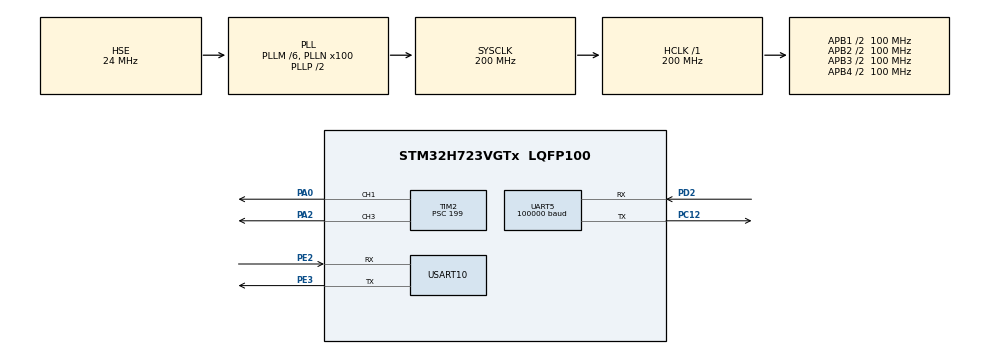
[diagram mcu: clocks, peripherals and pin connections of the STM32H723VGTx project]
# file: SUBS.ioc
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CORTEX_M7.default_mode_Activation=1
Dma.Request0=UART5_RX
Dma.UART5_RX.0.Direction=DMA_PERIPH_TO_MEMORY
Dma.UART5_RX.0.EventEnable=DISABLE
Dma.UART5_RX.0.FIFOMode=DMA_FIFOMODE_DISABLE
Dma.UART5_RX.0.Instance=DMA1_Stream0
Dma.UART5_RX.0.MemDataAlignment=DMA_MDATAALIGN_BYTE
Dma.UART5_RX.0.MemInc=DMA_MINC_ENABLE
Dma.UART5_RX.0.Mode=DMA_CIRCULAR
Dma.UART5_RX.0.PeriphDataAlignment=DMA_PDATAALIGN_BYTE
Dma.UART5_RX.0.PeriphInc=DMA_PINC_DISABLE
Dma.UART5_RX.0.Polarity=HAL_DMAMUX_REQ_GEN_RISING
Dma.UART5_RX.0.Priority=DMA_PRIORITY_HIGH
Dma.UART5_RX.0.RequestNumber=1
Dma.UART5_RX.0.SignalID=NONE
Dma.UART5_RX.0.SyncEnable=DISABLE
Dma.UART5_RX.0.SyncPolarity=HAL_DMAMUX_SYNC_NO_EVENT
Dma.UART5_RX.0.SyncRequestNumber=1
Dma.UART5_RX.0.SyncSignalID=NONE
Mcu.Family=STM32H7
Mcu.Name=STM32H723VGTx
Mcu.Package=LQFP100
NVIC.DMA1_Stream0_IRQn=true\:0\:0\:false\:false\:true\:false\:true\:true
NVIC.PriorityGroup=NVIC_PRIORITYGROUP_4
NVIC.UART5_IRQn=true\:0\:0\:false\:false\:true\:true\:true\:true
PA0.Mode=PWM Generation1 CH1
PA0.Signal=S_TIM2_CH1
PA2.Mode=PWM Generation3 CH3
PA2.Signal=S_TIM2_CH3
PA13(JTMS/SWDIO).Mode=Serial_Wire
PA13(JTMS/SWDIO).Signal=DEBUG_JTMS-SWDIO
PA14(JTCK/SWCLK).Mode=Serial_Wire
PA14(JTCK/SWCLK).Signal=DEBUG_JTCK-SWCLK
PC12.Mode=Asynchronous
PC12.Signal=UART5_TX
PD2.Mode=Asynchronous
PD2.Signal=UART5_RX
PE2.Mode=Asynchronous
PE2.Signal=USART10_RX
PE3.Mode=Asynchronous
PE3.Signal=USART10_TX
PH0-OSC_IN.Mode=HSE-External-Oscillator
PH0-OSC_IN.Signal=RCC_OSC_IN
PH1-OSC_OUT.Mode=HSE-External-Oscillator
PH1-OSC_OUT.Signal=RCC_OSC_OUT
ProjectManager.HeapSize=0x200
ProjectManager.StackSize=0x400
ProjectManager.TargetToolchain=MDK-ARM V5.32
RCC.ADCFreq_Value=48375000
RCC.APB1Freq_Value=100000000
RCC.APB2Freq_Value=100000000
RCC.APB3Freq_Value=100000000
RCC.APB4Freq_Value=100000000
RCC.CortexFreq_Value=200000000
RCC.D1PPRE=RCC_APB3_DIV2
RCC.D2PPRE1=RCC_APB1_DIV2
RCC.D2PPRE2=RCC_APB2_DIV2
RCC.D3PPRE=RCC_APB4_DIV2
RCC.DIVM1=6
RCC.DIVN1=100
RCC.HCLKFreq_Value=200000000
RCC.HSE_VALUE=24000000
RCC.PLLFRACN=0
RCC.PLLSourceVirtual=RCC_PLLSOURCE_HSE
RCC.SYSCLKFreq_VALUE=200000000
RCC.SYSCLKSource=RCC_SYSCLKSOURCE_PLLCLK
RCC.USBFreq_Value=200000000
TIM2.AutoReloadPreload=TIM_AUTORELOAD_PRELOAD_ENABLE
TIM2.Channel-PWM\ Generation1\ CH1=TIM_CHANNEL_1
TIM2.Channel-PWM\ Generation3\ CH3=TIM_CHANNEL_3
TIM2.Period=19999
TIM2.PeriodAutoCalc=false
TIM2.Prescaler=199
TIM2.Pulse-PWM\ Generation1\ CH1=1500
TIM2.Pulse-PWM\ Generation3\ CH3=1500
UART5.BaudRate=100000
UART5.Mode=MODE_RX
UART5.Parity=PARITY_EVEN
UART5.RxPinLevelInvertParam=UART_ADVFEATURE_RXINV_DISABLE
UART5.StopBits=UART_STOPBITS_2
UART5.WordLength=WORDLENGTH_9B
USART10.VirtualMode=VM_ASYNC
VP_MEMORYMAP_VS_MEMORYMAP.Mode=CurAppReg
VP_TIM2_VS_ClockSourceINT.Mode=Internal
board=custom

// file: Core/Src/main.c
/* USER CODE BEGIN Header */
/**
  ******************************************************************************
  * @file           : main.c
  * @brief          : 工程入口：初始化时钟/UART/DMA，启动 SBUS 接收并循环解析打印
  *
 * 达妙 DM-MC02 + Radiolink R9DS：
 *   UART5  PD2  接收 SBUS（100000，8E2，板载硬件反相，软件 RXINV 关）
 *   USART10 PE3 调试打印到电脑（115200，8N1）
 *   TIM2   PA0/PA2  50Hz 推进器 PWM，脉宽 1.0～2.0ms，对应 channels_norm[0]/[3]
  ******************************************************************************
  * @attention
  *
  * Copyright (c) 2026 STMicroelectronics.
  * All rights reserved.
  *
  * This software is licensed under terms that can be found in the LICENSE file
  * in the root directory of this software component.
  * If no LICENSE file comes with this software, it is provided AS-IS.
  *
  ******************************************************************************
  */
/* USER CODE END Header */
#include "main.h"

/* USER CODE BEGIN Includes */
#include "sbus.h"   /* SBUS 解析与调试打印 */
#include "pwm.h"    /* TIM2 两路 50Hz PWM 与时间戳同步 */
#include "ins_fusion.h" /* BMI088 + RTK 松耦合导航 */
#include "rtk_uart.h"   /* UART7 DMA 出错后重启 */
/* USER CODE END Includes */

TIM_HandleTypeDef htim2;         /* TIM2 句柄：PA0/PA2 两路 50Hz PWM */
UART_HandleTypeDef huart5;       /* UART5 句柄：SBUS 接收，引脚 PD2=RX */
UART_HandleTypeDef huart10;      /* USART10 句柄：调试打印，引脚 PE3=TX */
DMA_HandleTypeDef hdma_uart5_rx; /* UART5 接收 DMA（DMA1 Stream0，循环模式） */

/* USER CODE BEGIN PV */
/* DMA 循环接收缓冲。volatile 防止 -O3 把数组当常量；section RAM_D1 放到 AXI SRAM
 * （0x24000000），因为 H7 的 DMA1 无法写入 DTCM（0x20000000）。 */
#if defined(__CC_ARM)
volatile uint8_t sbus_dma_buf[SBUS_DMA_BUF_LEN] __attribute__((section("RAM_D1"), zero_init, aligned(32)));
#else
volatile uint8_t sbus_dma_buf[SBUS_DMA_BUF_LEN] __attribute__((section("RAM_D1"), aligned(32)));
#endif
/* USER CODE END PV */

void SystemClock_Config(void);          /* 配置 HSE 24MHz + PLL，SYSCLK=200MHz */
static void MPU_Config(void);           /* 配置 MPU，禁止对未实现地址的投机访问 */
static void MX_GPIO_Init(void);         /* 打开本工程用到的 GPIO 时钟 */
static void MX_DMA_Init(void);          /* 打开 DMA1 时钟并允许 DMA1 Stream0 中断 */
static void MX_USART10_UART_Init(void); /* 初始化调试串口 USART10 */
static void MX_UART5_Init(void);        /* 初始化 SBUS 串口 UART5 */
static void MX_TIM2_Init(void);         /* 初始化 TIM2 两路 PWM（50Hz） */
void HAL_TIM_MspPostInit(TIM_HandleTypeDef *htim); /* CubeMX：PWM 引脚复用 */
/* USER CODE BEGIN PFP */
static void SBUS_StartDmaRx(void);      /* 启动 UART5 DMA 收数并打开空闲中断 */
/* USER CODE END PFP */

/**
  * @brief  程序入口：MPU → HAL → 时钟 → 外设 → 启动 DMA 接收 → 死循环轮询解析
  * @retval int  正常情况不会返回
  */
int main(void)
{

  /* MPU Configuration--------------------------------------------------------*/
  MPU_Config();

  /* MCU Configuration--------------------------------------------------------*/

  /* Reset of all peripherals, Initializes the Flash interface and the Systick. */
  HAL_Init();

  /* Configure the system clock */
  SystemClock_Config();

  /* Initialize all configured peripherals */
  MX_GPIO_Init();
  MX_DMA_Init();
  MX_USART10_UART_Init();
  MX_UART5_Init();
  MX_TIM2_Init();
  /* USER CODE BEGIN 2 */
  PWM_Init();
  /* 启动时向电脑打印一行，确认 USART10（PE3）串口正常 */
  Debug_Printf("SBUS+PWM init OK\r\n");

  /* 板载 BMI088 + UART7 RTK NMEA → INSLIB ESKF，不改变原有 SBUS/PWM */
  INS_Fusion_Init();

  /* 启动 UART5 DMA 接收 + 空闲中断
   * 当 SBUS 一帧发送完毕、线路空闲时，触发 HAL_UARTEx_RxEventCallback */
  SBUS_StartDmaRx();
  /* USER CODE END 2 */

  /* Infinite loop */
  while (1)
  {

    /* USER CODE BEGIN 3 */
    static uint32_t last_print = 0; /* 上次串口打印的 HAL 时基，单位 ms */

    /* 主循环轮询 DMA。解帧只在这里做，不依赖空闲中断 */
    SBUS_PollFromUart(&huart5, sbus_dma_buf, SBUS_DMA_BUF_LEN);
    /* 新帧到达后立刻改 PWM，使 SBUS 接收时间戳与 PWM 输出时间戳对齐 */
    PWM_SyncFromSbus();
    /* IMU 100Hz + RTK NMEA 融合，与遥控互不影响 */
    INS_Fusion_Poll();

    /* 每 100ms（10Hz）打印一次，避免刷屏过快 */
    if ((HAL_GetTick() - last_print) >= 100U) {
      last_print = HAL_GetTick();

      /* 主循环解析成功后 sbus_data.updated 会被置 1 */
      if (sbus_data.updated) {
        sbus_data.updated = 0;
        /* channels_norm：中位 0.0，摇杆两端约 -1.0 / +1.0
         * [8]：拨杆，约 -0.966 不跟随摇杆，约 +0.985 手动
         * FL=丢帧标志，FS=失控保护（遥控器断电或超出距离时为 1）
         * [0]：右操纵杆左/右，[3]：左操纵杆左/右 */
        Debug_Printf(
            "N1:%+.2f N4:%+.2f N9:%+.2f MAN:%u PWM_us:%lu/%lu "
            "RX:%lu PWM_T:%lu dT:%ld FL:%u FS:%u\r\n",
            sbus_data.channels_norm[0],
            sbus_data.channels_norm[3],
            sbus_data.channels_norm[8],
            pwm_sync.manual,
            pwm_sync.pulse[0], pwm_sync.pulse[1],
            pwm_sync.sbus_rx_us, pwm_sync.pwm_out_us, pwm_sync.dt_us,
            sbus_data.frame_lost, sbus_data.failsafe);
      }
      /* UART10：融合结果；航向为 RTK 双天线真北，不打印融合 yaw */
      INS_Fusion_DebugPrint();
    }
  }
  /* USER CODE END 3 */
}

/**
  * @brief  系统时钟：板载 24MHz HSE，PLL M=6 N=100 P=2 → SYSCLK 200MHz，APB 各 100MHz
  * @note   HSE 必须填 24MHz，误填 25MHz 会导致 100000 波特率偏差，SBUS 解不开
  */
void SystemClock_Config(void)
{
  RCC_OscInitTypeDef RCC_OscInitStruct = {0}; /* 振荡器/PLL 参数 */
  RCC_ClkInitTypeDef RCC_ClkInitStruct = {0}; /* SYSCLK/AHB/APB 分频 */

  /** Supply configuration update enable
  */
  HAL_PWREx_ConfigSupply(PWR_LDO_SUPPLY);

  /** Configure the main internal regulator output voltage
  */
  __HAL_PWR_VOLTAGESCALING_CONFIG(PWR_REGULATOR_VOLTAGE_SCALE1);

  while(!__HAL_PWR_GET_FLAG(PWR_FLAG_VOSRDY)) {}

  /** Initializes the RCC Oscillators according to the specified parameters
  * in the RCC_OscInitTypeDef structure.
  */
  RCC_OscInitStruct.OscillatorType = RCC_OSCILLATORTYPE_HSE;
  RCC_OscInitStruct.HSEState = RCC_HSE_ON;
  RCC_OscInitStruct.PLL.PLLState = RCC_PLL_ON;
  RCC_OscInitStruct.PLL.PLLSource = RCC_PLLSOURCE_HSE;
  RCC_OscInitStruct.PLL.PLLM = 6;
  RCC_OscInitStruct.PLL.PLLN = 100;
  RCC_OscInitStruct.PLL.PLLP = 2;
  RCC_OscInitStruct.PLL.PLLQ = 2;
  RCC_OscInitStruct.PLL.PLLR = 2;
  RCC_OscInitStruct.PLL.PLLRGE = RCC_PLL1VCIRANGE_2;
  RCC_OscInitStruct.PLL.PLLVCOSEL = RCC_PLL1VCOWIDE;
  RCC_OscInitStruct.PLL.PLLFRACN = 0;
  if (HAL_RCC_OscConfig(&RCC_OscInitStruct) != HAL_OK)
  {
    Error_Handler();
  }

  /** Initializes the CPU, AHB and APB buses clocks
  */
  RCC_ClkInitStruct.ClockType = RCC_CLOCKTYPE_HCLK|RCC_CLOCKTYPE_SYSCLK
                              |RCC_CLOCKTYPE_PCLK1|RCC_CLOCKTYPE_PCLK2
                              |RCC_CLOCKTYPE_D3PCLK1|RCC_CLOCKTYPE_D1PCLK1;
  RCC_ClkInitStruct.SYSCLKSource = RCC_SYSCLKSOURCE_PLLCLK;
  RCC_ClkInitStruct.SYSCLKDivider = RCC_SYSCLK_DIV1;
  RCC_ClkInitStruct.AHBCLKDivider = RCC_HCLK_DIV1;
  RCC_ClkInitStruct.APB3CLKDivider = RCC_APB3_DIV2;
  RCC_ClkInitStruct.APB1CLKDivider = RCC_APB1_DIV2;
  RCC_ClkInitStruct.APB2CLKDivider = RCC_APB2_DIV2;
  RCC_ClkInitStruct.APB4CLKDivider = RCC_APB4_DIV2;

  if (HAL_RCC_ClockConfig(&RCC_ClkInitStruct, FLASH_LATENCY_2) != HAL_OK)
  {
    Error_Handler();
  }
}

/**
  * @brief  TIM2 两路 PWM：内部时钟，50Hz
  * @note   APB1 分频后定时器时钟为 200MHz；PSC=199 → 1MHz；ARR=19999 → 20ms
  *         PA0=CH1←SBUS[0]，PA2=CH3←SBUS[3]
  *         1 计数 = 1us；初始 Pulse=1500，推进器停转
  */
static void MX_TIM2_Init(void)
{

  TIM_MasterConfigTypeDef sMasterConfig = {0};
  TIM_OC_InitTypeDef sConfigOC = {0};

  htim2.Instance = TIM2;
  htim2.Init.Prescaler = PWM_TIM_PRESCALER;
  htim2.Init.CounterMode = TIM_COUNTERMODE_UP;
  htim2.Init.Period = PWM_TIM_PERIOD;
  htim2.Init.ClockDivision = TIM_CLOCKDIVISION_DIV1;
  htim2.Init.AutoReloadPreload = TIM_AUTORELOAD_PRELOAD_ENABLE;
  if (HAL_TIM_PWM_Init(&htim2) != HAL_OK)
  {
    Error_Handler();
  }
  sMasterConfig.MasterOutputTrigger = TIM_TRGO_RESET;
  sMasterConfig.MasterSlaveMode = TIM_MASTERSLAVEMODE_DISABLE;
  if (HAL_TIMEx_MasterConfigSynchronization(&htim2, &sMasterConfig) != HAL_OK)
  {
    Error_Handler();
  }
  sConfigOC.OCMode = TIM_OCMODE_PWM1;
  sConfigOC.Pulse = PWM_PULSE_NEUTRAL_US;
  sConfigOC.OCPolarity = TIM_OCPOLARITY_HIGH;
  sConfigOC.OCFastMode = TIM_OCFAST_DISABLE;
  if (HAL_TIM_PWM_ConfigChannel(&htim2, &sConfigOC, TIM_CHANNEL_1) != HAL_OK)
  {
    Error_Handler();
  }
  if (HAL_TIM_PWM_ConfigChannel(&htim2, &sConfigOC, TIM_CHANNEL_3) != HAL_OK)
  {
    Error_Handler();
  }
  HAL_TIM_MspPostInit(&htim2);

}

/**
  * @brief  初始化 UART5 为 SBUS 接收口
  * @note   波特率 100000；STM32 字长含校验位，故 9B+Even=8 数据位+偶校验；2 停止位；仅接收；
  *         板载 SUBS 已硬件反相，软件 RXINV 关闭。引脚 PD2=RX、PC12=TX。
  */
static void MX_UART5_Init(void)
{

  huart5.Instance = UART5;
  huart5.Init.BaudRate = 100000;
  /* STM32 字长包含校验位：9B + Even = 8 数据位 + 偶校验（SBUS 标准 8E2） */
  huart5.Init.WordLength = UART_WORDLENGTH_9B;
  huart5.Init.StopBits = UART_STOPBITS_2;
  huart5.Init.Parity = UART_PARITY_EVEN;
  huart5.Init.Mode = UART_MODE_RX;
  huart5.Init.HwFlowCtl = UART_HWCONTROL_NONE;
  huart5.Init.OverSampling = UART_OVERSAMPLING_16;
  huart5.Init.OneBitSampling = UART_ONE_BIT_SAMPLE_DISABLE;
  huart5.Init.ClockPrescaler = UART_PRESCALER_DIV1;
  /* DM-MC02 板载 SUBS 座前已有硬件反相，PD2 上为标准 UART，软件不再开 RXINV */
  huart5.AdvancedInit.AdvFeatureInit = UART_ADVFEATURE_NO_INIT;
  if (HAL_UART_Init(&huart5) != HAL_OK)
  {
    Error_Handler();
  }
  if (HAL_UARTEx_SetTxFifoThreshold(&huart5, UART_TXFIFO_THRESHOLD_1_8) != HAL_OK)
  {
    Error_Handler();
  }
  if (HAL_UARTEx_SetRxFifoThreshold(&huart5, UART_RXFIFO_THRESHOLD_1_8) != HAL_OK)
  {
    Error_Handler();
  }
  if (HAL_UARTEx_DisableFifoMode(&huart5) != HAL_OK)
  {
    Error_Handler();
  }
  /* USER CODE BEGIN UART5_Init 2 */
  CLEAR_BIT(huart5.Instance->CR2, USART_CR2_RXINV);
  /* USER CODE END UART5_Init 2 */

}

/**
  * @brief  初始化 USART10 为电脑调试口：115200 8N1，PE3=TX，不反相、不开 DMA/中断
  */
static void MX_USART10_UART_Init(void)
{

  huart10.Instance = USART10;
  huart10.Init.BaudRate = 115200;
  huart10.Init.WordLength = UART_WORDLENGTH_8B;
  huart10.Init.StopBits = UART_STOPBITS_1;
  huart10.Init.Parity = UART_PARITY_NONE;
  huart10.Init.Mode = UART_MODE_TX; /* 调试口只发，不收；PE2 浮空时 RX 会卡死发送 */
  huart10.Init.HwFlowCtl = UART_HWCONTROL_NONE;
  huart10.Init.OverSampling = UART_OVERSAMPLING_16;
  huart10.Init.OneBitSampling = UART_ONE_BIT_SAMPLE_DISABLE;
  huart10.Init.ClockPrescaler = UART_PRESCALER_DIV1;
  huart10.AdvancedInit.AdvFeatureInit = UART_ADVFEATURE_NO_INIT;
  if (HAL_UART_Init(&huart10) != HAL_OK)
  {
    Error_Handler();
  }
  /* FIFO 开关失败不得进 Error_Handler，否则调试口永远无输出 */
  (void)HAL_UARTEx_DisableFifoMode(&huart10);
  /* USER CODE BEGIN USART10_Init 2 */
  CLEAR_BIT(huart10.Instance->CR1, USART_CR1_RE);
  SET_BIT(huart10.Instance->CR1, USART_CR1_UE | USART_CR1_TE);
  __HAL_UART_CLEAR_FLAG(&huart10, UART_CLEAR_PEF | UART_CLEAR_FEF |
                        UART_CLEAR_NEF | UART_CLEAR_OREF);
  /* USER CODE END USART10_Init 2 */

}

/**
  * @brief  使能 DMA1 时钟，并打开 UART5 RX 所用的 DMA1 Stream0 中断
  */
static void MX_DMA_Init(void)
{

  /* DMA controller clock enable */
  __HAL_RCC_DMA1_CLK_ENABLE();

  /* DMA interrupt init */
  /* DMA1_Stream0_IRQn interrupt configuration */
  HAL_NVIC_SetPriority(DMA1_Stream0_IRQn, 0, 0);
  HAL_NVIC_EnableIRQ(DMA1_Stream0_IRQn);
  /* DMA1_Stream1：UART7 RX（RTK），不与 UART5 Stream0 冲突 */
  HAL_NVIC_SetPriority(DMA1_Stream1_IRQn, 1, 0);
  HAL_NVIC_EnableIRQ(DMA1_Stream1_IRQn);

}

/**
  * @brief  打开 GPIOE/H/A/C/D 时钟（UART、HSE、SWD、SPI 引脚所在端口）
  * @note   RTK 由模块 USB 独立供电，不打开板载 POWER_5V（PC15），
  *         UART7 座 VCC 不接模块。
  */
static void MX_GPIO_Init(void)
{

  /* GPIO Ports Clock Enable */
  __HAL_RCC_GPIOE_CLK_ENABLE();
  __HAL_RCC_GPIOH_CLK_ENABLE();
  __HAL_RCC_GPIOA_CLK_ENABLE();
  __HAL_RCC_GPIOB_CLK_ENABLE();
  __HAL_RCC_GPIOC_CLK_ENABLE();
  __HAL_RCC_GPIOD_CLK_ENABLE();

}

/* USER CODE BEGIN 4 */
/**
  * @brief  启动 UART5 循环 DMA 接收，并打开空闲中断
  * @note   关闭 PE/FE 错误中断，避免 HAL 把噪声当阻塞错误把 DMA 杀掉。
  *         真正解帧由主循环 SBUS_PollFromUart 完成。
  */
static void SBUS_StartDmaRx(void)
{
  CLEAR_BIT(huart5.Instance->CR2, USART_CR2_RXINV);

  __HAL_UART_CLEAR_FLAG(&huart5, UART_CLEAR_IDLEF | UART_CLEAR_PEF |
                        UART_CLEAR_FEF | UART_CLEAR_NEF | UART_CLEAR_OREF);

  if (HAL_UARTEx_ReceiveToIdle_DMA(&huart5, (uint8_t *)sbus_dma_buf, SBUS_DMA_BUF_LEN) != HAL_OK) {
    Debug_Printf("SBUS DMA start failed\r\n");
    return;
  }

  /* SBUS 偶发噪声会置 PE/FE。HAL 在 DMA 模式下把它们当阻塞错误，
   * 会 abort 并直接 return，IDLE 回调永远进不去。关掉错误中断，解帧靠主循环轮询。 */
  ATOMIC_CLEAR_BIT(huart5.Instance->CR1, USART_CR1_PEIE);
  ATOMIC_CLEAR_BIT(huart5.Instance->CR3, USART_CR3_EIE);

  huart5.ReceptionType = HAL_UART_RECEPTION_TOIDLE;
  __HAL_UART_CLEAR_FLAG(&huart5, UART_CLEAR_IDLEF);
  ATOMIC_SET_BIT(huart5.Instance->CR1, USART_CR1_IDLEIE);
}

/**
  * @brief  UART 空闲/DMA 完成回调（HAL 弱函数覆盖）
  * @param  huart  触发该事件的 UART
  * @param  Size   HAL 给出的长度/位置，语义不稳定，本工程不解帧，仅计数
  */
void HAL_UARTEx_RxEventCallback(UART_HandleTypeDef *huart, uint16_t Size)
{
  (void)Size; /* 明确不使用 Size，避免误当 DMA 写入下标 */
  if (huart->Instance == UART5) {
    /* 只统计中断。HAL 的 Size 不一定等于 DMA 写入下标，
     * 若在这里和主循环同时解帧，字节会错位，frame_ok_cnt 就不增加。 */
    sbus_dbg.rx_event_cnt++;
  }
}

/**
  * @brief  UART 错误回调：记录 ErrorCode 后重新启动 DMA 接收
  * @param  huart  出错的 UART，仅处理 UART5
  */
void HAL_UART_ErrorCallback(UART_HandleTypeDef *huart)
{
  if (huart->Instance == UART5) {
    sbus_dbg.uart_err_cnt++;
    sbus_dbg.last_uart_err = huart->ErrorCode;
    SBUS_StartDmaRx();
  } else if (huart->Instance == UART7) {
    RTK_StartDmaRx();
  }
}
/* USER CODE END 4 */

 /* MPU Configuration */

/**
  * @brief  CubeMX 默认 MPU：屏蔽未实现地址空间的投机读，避免 HardFault
  */
void MPU_Config(void)
{
  MPU_Region_InitTypeDef MPU_InitStruct = {0}; /* 单块 4GB 区域的 MPU 描述符 */

  /* Disables the MPU */
  HAL_MPU_Disable();

  /** Initializes and configures the Region and the memory to be protected
  */
  MPU_InitStruct.Enable = MPU_REGION_ENABLE;
  MPU_InitStruct.Number = MPU_REGION_NUMBER0;
  MPU_InitStruct.BaseAddress = 0x0;
  MPU_InitStruct.Size = MPU_REGION_SIZE_4GB;
  MPU_InitStruct.SubRegionDisable = 0x87;
  MPU_InitStruct.TypeExtField = MPU_TEX_LEVEL0;
  MPU_InitStruct.AccessPermission = MPU_REGION_NO_ACCESS;
  MPU_InitStruct.DisableExec = MPU_INSTRUCTION_ACCESS_DISABLE;
  MPU_InitStruct.IsShareable = MPU_ACCESS_SHAREABLE;
  MPU_InitStruct.IsCacheable = MPU_ACCESS_NOT_CACHEABLE;
  MPU_InitStruct.IsBufferable = MPU_ACCESS_NOT_BUFFERABLE;

  HAL_MPU_ConfigRegion(&MPU_InitStruct);
  /* Enables the MPU */
  HAL_MPU_Enable(MPU_PRIVILEGED_DEFAULT);

}

/**
  * @brief  HAL 初始化失败时进入：关中断后死循环，便于 Debug 停在此处排查
  */
void Error_Handler(void)
{
  __disable_irq();
  while (1)
  {
  }
}
